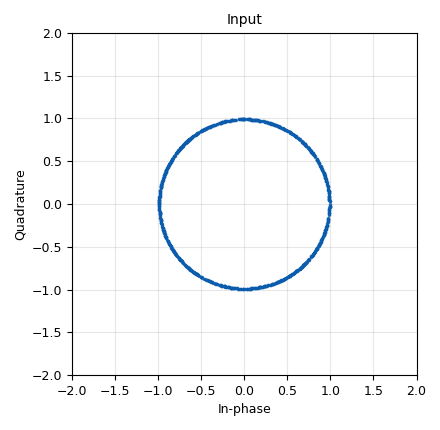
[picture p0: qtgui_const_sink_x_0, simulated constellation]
<?xml version='1.0' encoding='utf-8'?>
<?grc format='1' created='3.7.8'?>
<flow_graph>
<block>
<key>options</key>
<param><key>id</key><value>top_block</value></param>
<param><key>category</key><value>Custom</value></param>
<param><key>generate_options</key><value>qt_gui</value></param>
</block>
<block>
<key>variable</key>
<param><key>id</key><value>mu</value></param>
<param><key>value</key><value>range_mu</value></param>
</block>
<block>
<key>variable_qtgui_range</key>
<param><key>id</key><value>range_mu</value></param>
<param><key>value</key><value>0.3</value></param>
<param><key>label</key><value>Mu</value></param>
<param><key>orient</key><value>Qt.Horizontal</value></param>
<param><key>start</key><value>0</value></param>
<param><key>step</key><value>0.001</value></param>
<param><key>stop</key><value>2</value></param>
</block>
<block>
<key>variable</key>
<param><key>id</key><value>samp_rate</value></param>
<param><key>value</key><value>32000</value></param>
</block>
<block>
<key>analog_random_source_x</key>
<param><key>id</key><value>analog_random_source_x_0</value></param>
<param><key>max</key><value>255</value></param>
<param><key>min</key><value>0</value></param>
<param><key>num_samps</key><value>1000</value></param>
<param><key>type</key><value>byte</value></param>
<param><key>repeat</key><value>True</value></param>
</block>
<block>
<key>blocks_packed_to_unpacked_xx</key>
<param><key>id</key><value>blocks_packed_to_unpacked_xx_0</value></param>
<param><key>bits_per_chunk</key><value>2</value></param>
<param><key>endianness</key><value>gr.GR_MSB_FIRST</value></param>
<param><key>type</key><value>byte</value></param>
</block>
<block>
<key>blocks_throttle</key>
<param><key>id</key><value>blocks_throttle_0</value></param>
<param><key>samples_per_second</key><value>samp_rate</value></param>
<param><key>type</key><value>complex</value></param>
</block>
<block>
<key>channels_channel_model</key>
<param><key>id</key><value>channels_channel_model_0</value></param>
<param><key>epsilon</key><value>1.0</value></param>
<param><key>freq_offset</key><value>0.001</value></param>
<param><key>noise_voltage</key><value>0.0</value></param>
<param><key>seed</key><value>0</value></param>
<param><key>taps</key><value>1.0</value></param>
</block>
<block>
<key>digital_chunks_to_symbols_xx</key>
<param><key>id</key><value>digital_chunks_to_symbols_xx_0</value></param>
<param><key>dimension</key><value>1</value></param>
<param><key>in_type</key><value>byte</value></param>
<param><key>out_type</key><value>complex</value></param>
<param><key>symbol_table</key><value>[0.7+0.7j, -0.7+0.7j, -0.7-0.7j, 0.7-0.7j]</value></param>
</block>
<block>
<key>digital_chunks_to_symbols_xx</key>
<param><key>id</key><value>digital_chunks_to_symbols_xx_0_0</value></param>
<param><key>dimension</key><value>1</value></param>
<param><key>_enabled</key><value>0</value></param>
<param><key>in_type</key><value>byte</value></param>
<param><key>out_type</key><value>complex</value></param>
<param><key>symbol_table</key><value>[0.7+0j, -0.7+0j]</value></param>
</block>
<block>
<key>import</key>
<param><key>id</key><value>import_0</value></param>
<param><key>import</key><value>import gnuradio</value></param>
</block>
<block>
<key>inets_baseband_derotation</key>
<param><key>id</key><value>inets_baseband_derotation_0</value></param>
<param><key>con</key><value>gnuradio.digital.constellation_qpsk().base()</value></param>
<param><key>mu</key><value>mu</value></param>
</block>
<block>
<key>qtgui_const_sink_x</key>
<param><key>id</key><value>qtgui_const_sink_x_0</value></param>
<param><key>name</key><value>"Input"</value></param>
<param><key>size</key><value>1024</value></param>
<param><key>type</key><value>complex</value></param>
</block>
<block>
<key>qtgui_const_sink_x</key>
<param><key>id</key><value>qtgui_const_sink_x_0_0</value></param>
<param><key>name</key><value>"BB Derot"</value></param>
<param><key>size</key><value>1024</value></param>
<param><key>type</key><value>complex</value></param>
</block>
<connection><source_block_id>analog_random_source_x_0</source_block_id><sink_block_id>blocks_packed_to_unpacked_xx_0</sink_block_id><source_key>0</source_key><sink_key>0</sink_key></connection>
<connection><source_block_id>blocks_packed_to_unpacked_xx_0</source_block_id><sink_block_id>digital_chunks_to_symbols_xx_0</sink_block_id><source_key>0</source_key><sink_key>0</sink_key></connection>
<connection><source_block_id>blocks_packed_to_unpacked_xx_0</source_block_id><sink_block_id>digital_chunks_to_symbols_xx_0_0</sink_block_id><source_key>0</source_key><sink_key>0</sink_key></connection>
<connection><source_block_id>blocks_throttle_0</source_block_id><sink_block_id>inets_baseband_derotation_0</sink_block_id><source_key>0</source_key><sink_key>0</sink_key></connection>
<connection><source_block_id>blocks_throttle_0</source_block_id><sink_block_id>qtgui_const_sink_x_0</sink_block_id><source_key>0</source_key><sink_key>0</sink_key></connection>
<connection><source_block_id>channels_channel_model_0</source_block_id><sink_block_id>blocks_throttle_0</sink_block_id><source_key>0</source_key><sink_key>0</sink_key></connection>
<connection><source_block_id>digital_chunks_to_symbols_xx_0</source_block_id><sink_block_id>channels_channel_model_0</sink_block_id><source_key>0</source_key><sink_key>0</sink_key></connection>
<connection><source_block_id>digital_chunks_to_symbols_xx_0_0</source_block_id><sink_block_id>channels_channel_model_0</sink_block_id><source_key>0</source_key><sink_key>0</sink_key></connection>
<connection><source_block_id>inets_baseband_derotation_0</source_block_id><sink_block_id>qtgui_const_sink_x_0_0</sink_block_id><source_key>0</source_key><sink_key>0</sink_key></connection>
</flow_graph>
